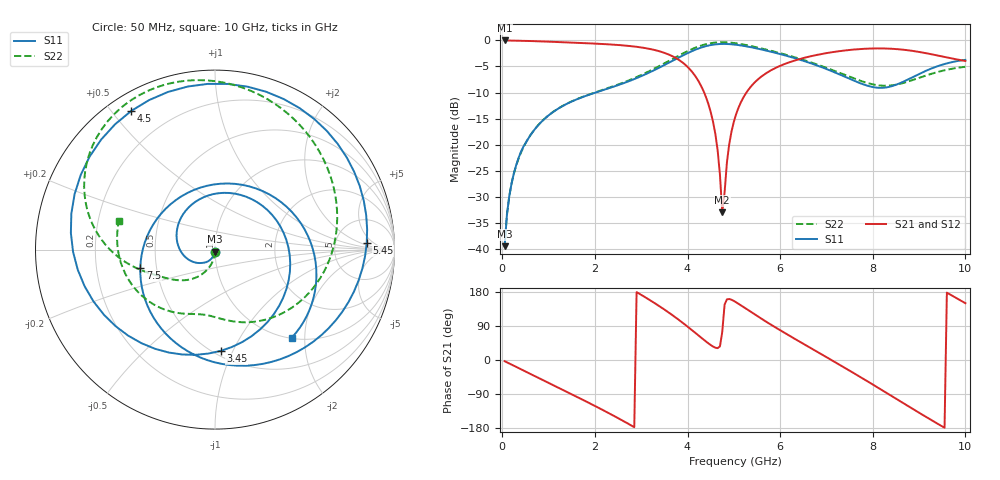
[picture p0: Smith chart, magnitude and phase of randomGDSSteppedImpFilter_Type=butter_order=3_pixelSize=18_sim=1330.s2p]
! freq	dB(S11)	phase(S11)	dB(S12)	phase(S12)
!  dB(S21)	phase(S21)	dB(S22)	phase(S22)
!S-par simulation data
#  GHz  S  DB  R 50
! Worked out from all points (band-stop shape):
!   200 points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, 50 MHz to 10 GHz, reference 50 ohm
!   highest |S21| = 0.00 dB at 50 MHz (marker M1); lowest = -33.0 dB at 4.75 GHz (marker M2)
!   |S21| within 3 dB of the highest: start of sweep to 3.668 GHz; 6.675 GHz to 9.463 GHz (2.788 GHz wide, 34.6 % of centre)
!   lowest |S11| = -39.5 dB at 50 MHz (marker M3), VSWR 1.02, Z = 49.9 - j1.06 ohm
!   |S11| at or under -10 dB: start of sweep to 2.014 GHz
!   |S22| runs from -39.4 to -0.3 dB; largest |S21 - S12| = 0
!   S11 on the Smith chart (normalised r, x): 50 MHz: 1.00, -0.02; 3.45 GHz: 0.54, -0.90; 4.5 GHz: 0.07, +0.56; 5.45 GHz: 11, +3; 7.5 GHz: 0.41, -0.10; 10 GHz: 1.01, -1.73
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0.05  -39.47 -93.9  -0.00 -3.1  -0.00 -3.1  -39.42 -91.4
0.2  -27.44 -106.9  -0.03 -12.2  -0.03 -12.2  -27.43 -97.0
0.45  -20.48 -129.8  -0.07 -27.3  -0.07 -27.3  -20.61 -106.1
1.1  -13.71 173.9  -0.27 -66.3  -0.27 -66.3  -13.68 -128.0
1.75  -10.81 112.1  -0.51 -105.7  -0.51 -105.7  -10.78 -144.9
2.65  -8.10 13.8  -0.98 -163.5  -0.98 -163.5  -7.95 -161.7
3.4  -5.18 -80.2  -2.10 141.4  -2.10 141.4  -4.87 -178.6
3.45  -4.95 -86.8  -2.23 137.3  -2.23 137.3  -4.63 179.8
3.8  -3.34 -135.2  -3.66 107.0  -3.66 107.0  -2.96 166.7
4.1  -2.04 -179.1  -6.05 78.3  -6.05 78.3  -1.65 151.7
4.5  -0.89 121.2  -13.71 39.5  -13.71 39.5  -0.53 126.6
4.65  -0.71 99.5  -21.07 31.3  -21.07 31.3  -0.37 116.5
4.75  -0.67 85.5  -32.97 74.2  -32.97 74.2  -0.34 109.7
4.9  -0.70 65.5  -19.91 161.0  -19.91 161.0  -0.40 99.6
5.05  -0.83 46.7  -14.13 152.3  -14.13 152.3  -0.55 89.8
5.45  -1.45 2.5  -8.06 120.2  -8.06 120.2  -1.23 64.4
6.05  -2.73 -51.5  -4.69 74.9  -4.69 74.9  -2.56 27.1
6.7  -4.50 -101.6  -2.95 28.7  -2.95 28.7  -4.31 -14.7
7.5  -7.36 -166.3  -1.83 -28.2  -1.83 -28.2  -6.97 -64.4
8.35  -8.92 97.4  -1.57 -90.7  -1.57 -90.7  -8.67 -101.5
9.15  -5.82 12.7  -2.44 -150.2  -2.44 -150.2  -6.73 -139.1
10  -3.73 -49.0  -3.94 149.9  -3.94 149.9  -5.06 163.6
